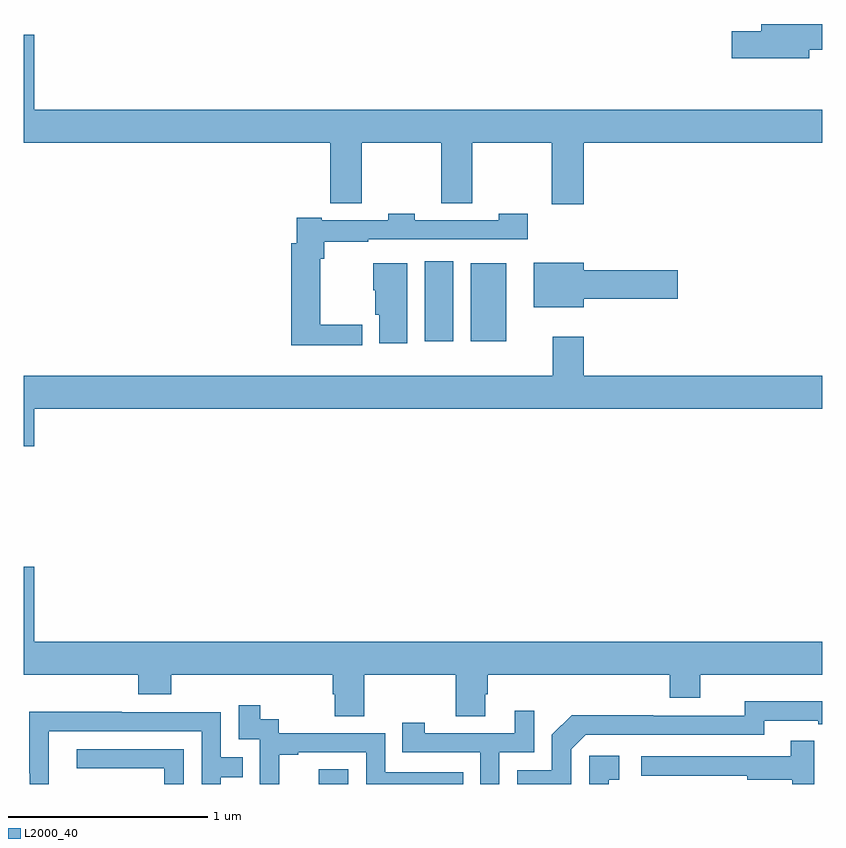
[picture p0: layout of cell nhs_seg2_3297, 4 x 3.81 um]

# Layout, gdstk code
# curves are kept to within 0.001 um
import gdstk
lib = gdstk.Library(unit=1e-6, precision=1e-09)
def R(c, l, rs):  # rectangles x0, y0, x1, y1
    for r in rs: c.add(gdstk.rectangle(r[:2], r[2:], *l))
def P(c, l, *ps):  # polygons
    for p in ps: c.add(gdstk.Polygon(p, *l))
L2000_40 = (2000, 40)

nhs_seg2_3297 = lib.new_cell('nhs_seg2_3297')
R(nhs_seg2_3297, L2000_40, [(286.479,601.8,286.626,601.873), (287.009,604.016,287.152,604.417), (287.24,604.016,287.416,604.408)])
P(nhs_seg2_3297, L2000_40, [(288.934,605.478),(289,605.478),(289,605.606),(288.695,605.606),(288.695,605.57),(288.546,605.57),(288.546,605.435),(288.934,605.435)],
  [(287.804,605.012),(289,605.012),(289,605.176),(285.052,605.176),(285.052,605.551),(285,605.551),(285,605.012),(286.535,605.012),(286.535,604.708),(286.694,604.708),(286.694,605.012),(287.092,605.012),(287.092,604.708),(287.246,604.708),(287.246,605.012),(287.644,605.012),(287.644,604.704),(287.804,604.704)],
  [(286.696,604.1),(286.486,604.1),(286.486,604.43),(286.505,604.43),(286.505,604.515),(286.727,604.515),(286.727,604.527),(287.524,604.527),(287.524,604.656),(287.379,604.656),(287.379,604.623),(286.959,604.623),(286.959,604.656),(286.827,604.656),(286.827,604.623),(286.492,604.623),(286.492,604.636),(286.369,604.636),(286.369,604.507),(286.34,604.507),(286.34,603.998),(286.696,603.998)],
  [(287.806,604.231),(288.277,604.231),(288.277,604.373),(287.806,604.373),(287.806,604.411),(287.555,604.411),(287.555,604.187),(287.806,604.187)],
  [(286.921,604.408),(286.751,604.408),(286.751,604.272),(286.76,604.272),(286.76,604.149),(286.781,604.149),(286.781,604.008),(286.921,604.008)],
  [(285.052,603.68),(289,603.68),(289,603.844),(287.804,603.844),(287.804,604.039),(287.651,604.039),(287.651,603.844),(285,603.844),(285,603.492),(285.052,603.492)],
  [(286.707,602.348),(287.164,602.348),(287.164,602.14),(287.311,602.14),(287.311,602.25),(287.324,602.25),(287.324,602.348),(288.236,602.348),(288.236,602.231),(288.388,602.231),(288.388,602.348),(289,602.348),(289,602.512),(285.052,602.512),(285.052,602.887),(285,602.887),(285,602.348),(285.575,602.348),(285.575,602.249),(285.74,602.249),(285.74,602.348),(286.547,602.348),(286.547,602.25),(286.559,602.25),(286.559,602.14),(286.707,602.14)],
  [(287.742,601.974),(287.814,602.046),(288.708,602.046),(288.708,602.118),(288.98,602.118),(288.98,602.098),(289,602.098),(289,602.214),(288.612,602.215),(288.612,602.142),(288.152,602.142),(288.152,602.144),(287.744,602.144),(287.646,602.046),(287.646,601.869),(287.472,601.869),(287.472,601.8),(287.742,601.8)],
  [(286.28,601.947),(286.375,601.947),(286.375,601.959),(286.716,601.959),(286.716,601.8),(287.201,601.8),(287.201,601.86),(286.812,601.86),(286.812,602.055),(286.278,602.055),(286.278,602.124),(286.186,602.124),(286.186,602.194),(286.077,602.194),(286.077,602.025),(286.182,602.025),(286.182,601.8),(286.28,601.8)],
  [(287.382,601.959),(287.556,601.959),(287.556,602.167),(287.459,602.167),(287.459,602.055),(287.008,602.055),(287.008,602.107),(286.897,602.107),(286.897,601.959),(287.286,601.959),(287.286,601.8),(287.382,601.8)],
  [(285.126,602.064),(285.891,602.064),(285.891,601.8),(285.987,601.8),(285.987,601.834),(286.097,601.834),(286.097,601.935),(285.987,601.935),(285.987,602.16),(285.491,602.16),(285.491,602.162),(285.028,602.162),(285.028,601.855),(285.03,601.855),(285.03,601.8),(285.126,601.8)],
  [(288.959,602.017),(288.841,602.017),(288.841,601.938),(288.093,601.938),(288.093,601.842),(288.625,601.842),(288.625,601.822),(288.849,601.822),(288.849,601.8),(288.959,601.8)],
  [(285.801,601.974),(285.267,601.974),(285.267,601.878),(285.705,601.878),(285.705,601.8),(285.801,601.8)],
  [(287.93,601.821),(287.983,601.821),(287.983,601.942),(287.832,601.942),(287.832,601.8),(287.93,601.8)])

lib.write_gds('nhs_seg2_3297.gds')
